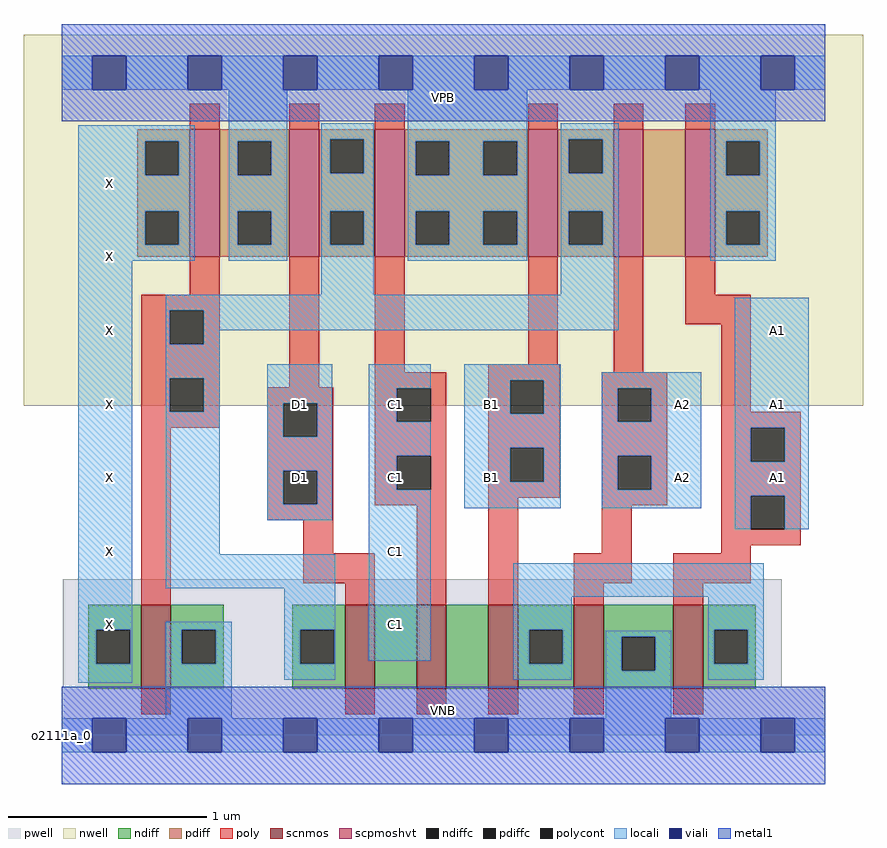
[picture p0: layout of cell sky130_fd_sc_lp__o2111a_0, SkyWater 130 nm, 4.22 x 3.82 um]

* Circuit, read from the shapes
.subckt sky130_fd_sc_lp__o2111a_0 A1 A2 B1 C1 D1 VGND VNB VPB VPWR X
XM1 VGND n1 X VNB sky130_fd_pr__nfet_01v8 w=0.42 l=0.15
XM2 n2 D1 n1 VNB sky130_fd_pr__nfet_01v8 w=0.42 l=0.15
XM3 n3 C1 n2 VNB sky130_fd_pr__nfet_01v8 w=0.42 l=0.15
XM4 n4 B1 n3 VNB sky130_fd_pr__nfet_01v8 w=0.42 l=0.15
XM5 VGND A2 n4 VNB sky130_fd_pr__nfet_01v8 w=0.42 l=0.15
XM6 n4 A1 VGND VNB sky130_fd_pr__nfet_01v8 w=0.42 l=0.15
XM7 VPWR n1 X VPB sky130_fd_pr__pfet_01v8_hvt w=0.64 l=0.15
XM8 n1 D1 VPWR VPB sky130_fd_pr__pfet_01v8_hvt w=0.64 l=0.15
XM9 VPWR C1 n1 VPB sky130_fd_pr__pfet_01v8_hvt w=0.64 l=0.15
XM10 n1 B1 VPWR VPB sky130_fd_pr__pfet_01v8_hvt w=0.64 l=0.15
XM11 n5 A2 n1 VPB sky130_fd_pr__pfet_01v8_hvt w=0.64 l=0.15
XM12 VPWR A1 n5 VPB sky130_fd_pr__pfet_01v8_hvt w=0.64 l=0.15
.ends

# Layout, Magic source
magic
tech sky130A
magscale 1 2
<< nwell >>
rect -38 331 806 704
<< pwell >>
rect 1 49 724 157
rect 0 0 768 49
<< scnmos >>
rect 80 47 110 131
rect 285 47 315 131
rect 357 47 387 131
rect 429 47 459 131
rect 515 47 545 131
rect 615 47 645 131
<< scpmoshvt >>
rect 129 481 159 609
rect 229 481 259 609
rect 315 481 345 609
rect 469 481 499 609
rect 555 481 585 609
rect 627 481 657 609
<< ndiff >>
rect 27 106 80 131
rect 27 72 35 106
rect 69 72 80 106
rect 27 47 80 72
rect 110 106 163 131
rect 110 72 121 106
rect 155 72 163 106
rect 110 47 163 72
rect 232 106 285 131
rect 232 72 240 106
rect 274 72 285 106
rect 232 47 285 72
rect 315 47 357 131
rect 387 47 429 131
rect 459 106 515 131
rect 459 72 470 106
rect 504 72 515 106
rect 459 47 515 72
rect 545 99 615 131
rect 545 65 563 99
rect 597 65 615 99
rect 545 47 615 65
rect 645 106 698 131
rect 645 72 656 106
rect 690 72 698 106
rect 645 47 698 72
<< pdiff >>
rect 76 597 129 609
rect 76 563 84 597
rect 118 563 129 597
rect 76 527 129 563
rect 76 493 84 527
rect 118 493 129 527
rect 76 481 129 493
rect 159 597 229 609
rect 159 563 177 597
rect 211 563 229 597
rect 159 527 229 563
rect 159 493 177 527
rect 211 493 229 527
rect 159 481 229 493
rect 259 599 315 609
rect 259 565 270 599
rect 304 565 315 599
rect 259 527 315 565
rect 259 493 270 527
rect 304 493 315 527
rect 259 481 315 493
rect 345 597 469 609
rect 345 563 356 597
rect 390 563 424 597
rect 458 563 469 597
rect 345 527 469 563
rect 345 493 356 527
rect 390 493 424 527
rect 458 493 469 527
rect 345 481 469 493
rect 499 599 555 609
rect 499 565 510 599
rect 544 565 555 599
rect 499 527 555 565
rect 499 493 510 527
rect 544 493 555 527
rect 499 481 555 493
rect 585 481 627 609
rect 657 597 710 609
rect 657 563 668 597
rect 702 563 710 597
rect 657 527 710 563
rect 657 493 668 527
rect 702 493 710 527
rect 657 481 710 493
<< ndiffc >>
rect 35 72 69 106
rect 121 72 155 106
rect 240 72 274 106
rect 470 72 504 106
rect 563 65 597 99
rect 656 72 690 106
<< pdiffc >>
rect 84 563 118 597
rect 84 493 118 527
rect 177 563 211 597
rect 177 493 211 527
rect 270 565 304 599
rect 270 493 304 527
rect 356 563 390 597
rect 424 563 458 597
rect 356 493 390 527
rect 424 493 458 527
rect 510 565 544 599
rect 510 493 544 527
rect 668 563 702 597
rect 668 493 702 527
<< poly >>
rect 129 609 159 635
rect 229 609 259 635
rect 315 609 345 635
rect 469 609 499 635
rect 555 609 585 635
rect 627 609 657 635
rect 129 443 159 481
rect 80 427 159 443
rect 80 393 109 427
rect 143 393 159 427
rect 80 359 159 393
rect 80 325 109 359
rect 143 325 159 359
rect 229 350 259 481
rect 315 365 345 481
rect 469 373 499 481
rect 80 309 159 325
rect 207 334 273 350
rect 80 131 110 309
rect 207 300 223 334
rect 257 300 273 334
rect 207 266 273 300
rect 207 232 223 266
rect 257 232 273 266
rect 207 216 273 232
rect 315 349 387 365
rect 315 315 337 349
rect 371 315 387 349
rect 315 281 387 315
rect 315 247 337 281
rect 371 247 387 281
rect 315 231 387 247
rect 243 183 273 216
rect 243 153 315 183
rect 285 131 315 153
rect 357 131 387 231
rect 429 357 501 373
rect 555 365 585 481
rect 627 443 657 481
rect 627 413 693 443
rect 429 323 451 357
rect 485 323 501 357
rect 429 289 501 323
rect 429 255 451 289
rect 485 255 501 289
rect 429 239 501 255
rect 543 349 609 365
rect 543 315 559 349
rect 593 315 609 349
rect 543 281 609 315
rect 543 247 559 281
rect 593 247 609 281
rect 429 131 459 239
rect 543 231 609 247
rect 663 325 693 413
rect 663 309 743 325
rect 663 275 693 309
rect 727 275 743 309
rect 663 241 743 275
rect 543 183 573 231
rect 663 207 693 241
rect 727 207 743 241
rect 663 191 743 207
rect 663 183 693 191
rect 515 153 573 183
rect 615 153 693 183
rect 515 131 545 153
rect 615 131 645 153
rect 80 21 110 47
rect 285 21 315 47
rect 357 21 387 47
rect 429 21 459 47
rect 515 21 545 47
rect 615 21 645 47
<< polycont >>
rect 109 393 143 427
rect 109 325 143 359
rect 223 300 257 334
rect 223 232 257 266
rect 337 315 371 349
rect 337 247 371 281
rect 451 323 485 357
rect 451 255 485 289
rect 559 315 593 349
rect 559 247 593 281
rect 693 275 727 309
rect 693 207 727 241
<< locali >>
rect 0 649 31 683
rect 65 649 127 683
rect 161 649 223 683
rect 257 649 319 683
rect 353 649 415 683
rect 449 649 511 683
rect 545 649 607 683
rect 641 649 703 683
rect 737 649 768 683
rect 17 597 134 613
rect 17 563 84 597
rect 118 563 134 597
rect 17 527 134 563
rect 17 493 84 527
rect 118 493 134 527
rect 17 477 134 493
rect 168 597 227 649
rect 168 563 177 597
rect 211 563 227 597
rect 168 527 227 563
rect 168 493 177 527
rect 211 493 227 527
rect 168 477 227 493
rect 261 599 314 615
rect 261 565 270 599
rect 304 565 314 599
rect 261 527 314 565
rect 261 493 270 527
rect 304 493 314 527
rect 17 106 71 477
rect 261 443 314 493
rect 348 597 468 649
rect 348 563 356 597
rect 390 563 424 597
rect 458 563 468 597
rect 348 527 468 563
rect 348 493 356 527
rect 390 493 424 527
rect 458 493 468 527
rect 348 477 468 493
rect 502 599 560 615
rect 502 565 510 599
rect 544 565 560 599
rect 502 527 560 565
rect 502 493 510 527
rect 544 493 560 527
rect 502 443 560 493
rect 652 597 718 649
rect 652 563 668 597
rect 702 563 718 597
rect 652 527 718 563
rect 652 493 668 527
rect 702 493 718 527
rect 652 477 718 493
rect 105 427 560 443
rect 105 393 109 427
rect 143 407 560 427
rect 143 393 159 407
rect 105 359 159 393
rect 105 325 109 359
rect 143 325 159 359
rect 105 182 159 325
rect 207 334 272 373
rect 207 300 223 334
rect 257 300 272 334
rect 207 266 272 300
rect 207 232 223 266
rect 257 232 272 266
rect 207 216 272 232
rect 309 349 371 373
rect 309 315 337 349
rect 309 281 371 315
rect 309 247 337 281
rect 105 148 275 182
rect 17 72 35 106
rect 69 72 71 106
rect 17 53 71 72
rect 105 106 171 114
rect 105 72 121 106
rect 155 72 171 106
rect 105 17 171 72
rect 224 106 275 148
rect 224 72 240 106
rect 274 72 275 106
rect 309 75 371 247
rect 405 357 502 373
rect 405 323 451 357
rect 485 323 502 357
rect 405 289 502 323
rect 405 255 451 289
rect 485 255 502 289
rect 405 228 502 255
rect 543 349 643 365
rect 543 315 559 349
rect 593 315 643 349
rect 543 281 643 315
rect 543 247 559 281
rect 593 247 643 281
rect 543 228 643 247
rect 677 309 751 440
rect 677 275 693 309
rect 727 275 751 309
rect 677 241 751 275
rect 677 207 693 241
rect 727 207 751 241
rect 454 139 706 173
rect 454 106 513 139
rect 224 56 275 72
rect 454 72 470 106
rect 504 72 513 106
rect 650 106 706 139
rect 454 56 513 72
rect 547 99 613 105
rect 547 65 563 99
rect 597 65 613 99
rect 547 17 613 65
rect 650 72 656 106
rect 690 72 706 106
rect 650 56 706 72
rect 0 -17 31 17
rect 65 -17 127 17
rect 161 -17 223 17
rect 257 -17 319 17
rect 353 -17 415 17
rect 449 -17 511 17
rect 545 -17 607 17
rect 641 -17 703 17
rect 737 -17 768 17
<< viali >>
rect 31 649 65 683
rect 127 649 161 683
rect 223 649 257 683
rect 319 649 353 683
rect 415 649 449 683
rect 511 649 545 683
rect 607 649 641 683
rect 703 649 737 683
rect 31 -17 65 17
rect 127 -17 161 17
rect 223 -17 257 17
rect 319 -17 353 17
rect 415 -17 449 17
rect 511 -17 545 17
rect 607 -17 641 17
rect 703 -17 737 17
<< metal1 >>
rect 0 683 768 715
rect 0 649 31 683
rect 65 649 127 683
rect 161 649 223 683
rect 257 649 319 683
rect 353 649 415 683
rect 449 649 511 683
rect 545 649 607 683
rect 641 649 703 683
rect 737 649 768 683
rect 0 617 768 649
rect 0 17 768 49
rect 0 -17 31 17
rect 65 -17 127 17
rect 161 -17 223 17
rect 257 -17 319 17
rect 353 -17 415 17
rect 449 -17 511 17
rect 545 -17 607 17
rect 641 -17 703 17
rect 737 -17 768 17
rect 0 -49 768 -17
<< labels >>
flabel pwell s 0 0 768 49 0 FreeSans 200 0 0 0 VNB
port 7 nsew ground bidirectional
flabel nwell s 0 617 768 666 0 FreeSans 200 0 0 0 VPB
port 8 nsew power bidirectional
rlabel comment s 0 0 0 0 4 o2111a_0
flabel metal1 s 0 617 768 666 0 FreeSans 340 0 0 0 VPWR
port 9 nsew power bidirectional
flabel metal1 s 0 0 768 49 0 FreeSans 340 0 0 0 VGND
port 6 nsew ground bidirectional
flabel locali s 703 242 737 276 0 FreeSans 340 0 0 0 A1
port 1 nsew signal input
flabel locali s 703 316 737 350 0 FreeSans 340 0 0 0 A1
port 1 nsew signal input
flabel locali s 703 390 737 424 0 FreeSans 340 0 0 0 A1
port 1 nsew signal input
flabel locali s 607 242 641 276 0 FreeSans 340 0 0 0 A2
port 2 nsew signal input
flabel locali s 607 316 641 350 0 FreeSans 340 0 0 0 A2
port 2 nsew signal input
flabel locali s 415 242 449 276 0 FreeSans 340 0 0 0 B1
port 3 nsew signal input
flabel locali s 415 316 449 350 0 FreeSans 340 0 0 0 B1
port 3 nsew signal input
flabel locali s 319 94 353 128 0 FreeSans 340 0 0 0 C1
port 4 nsew signal input
flabel locali s 319 168 353 202 0 FreeSans 340 0 0 0 C1
port 4 nsew signal input
flabel locali s 319 242 353 276 0 FreeSans 340 0 0 0 C1
port 4 nsew signal input
flabel locali s 319 316 353 350 0 FreeSans 340 0 0 0 C1
port 4 nsew signal input
flabel locali s 223 242 257 276 0 FreeSans 340 0 0 0 D1
port 5 nsew signal input
flabel locali s 223 316 257 350 0 FreeSans 340 0 0 0 D1
port 5 nsew signal input
flabel locali s 31 94 65 128 0 FreeSans 340 0 0 0 X
port 10 nsew signal output
flabel locali s 31 168 65 202 0 FreeSans 340 0 0 0 X
port 10 nsew signal output
flabel locali s 31 242 65 276 0 FreeSans 340 0 0 0 X
port 10 nsew signal output
flabel locali s 31 316 65 350 0 FreeSans 340 0 0 0 X
port 10 nsew signal output
flabel locali s 31 390 65 424 0 FreeSans 340 0 0 0 X
port 10 nsew signal output
flabel locali s 31 464 65 498 0 FreeSans 340 0 0 0 X
port 10 nsew signal output
flabel locali s 31 538 65 572 0 FreeSans 340 0 0 0 X
port 10 nsew signal output
<< properties >>
string LEFsite unit
string LEFclass CORE
string FIXED_BBOX 0 0 768 666
string GDS_FILE $PDKPATH/libs.ref/sky130_fd_sc_lp/gds/sky130_fd_sc_lp.gds
string LEFsymmetry X Y R90
string GDS_END 4258612
string GDS_START 4249726
<< end >>
